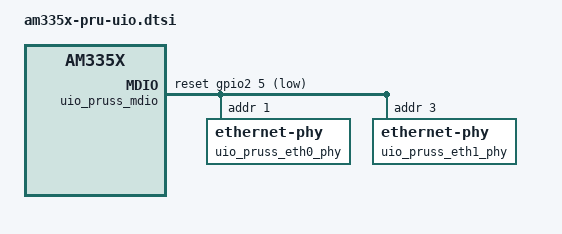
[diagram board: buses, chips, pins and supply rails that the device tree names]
&pruss_soc_bus {
		uio_pruss_mdio: uio_pruss_mdio@4a332400 {
			compatible = "ti,davinci_mdio";
			reg = <0x4a332400 0x90>;
			clocks = <&dpll_core_m4_ck>;
			clock-names = "fck";
			bus_freq = <1000000>;
			#address-cells = <1>;
			#size-cells = <0>;
			status = "disabled";
		};

		uio_pruss_mem: uio_pruss_mem {
			compatible = "ti,uio-module-drv";
			mem = <0x4a300000 0x2000>,
			      <0x4a302000 0x2000>,
			      <0x4a310000 0x3000>,
			      <0x4a320000 0x2000>,
			      <0x4a326000 0x2000>,
			      <0x4a32e000 0x31c>,
			      <0x4a332000 0x58>;
			mem-names = "dram0", "dram1", "shrdram2", "intc", "cfg",
				    "iep", "mii_rt";

			status = "okay";
		};
		uio_pruss_mem2: uio_pruss_mem2 {
			compatible = "ti,uio-module-drv";
			mem = <0x4a328000 0xd4>,
			      <0x4a330000 0x174>,
			      <0x4a332400 0x90>,
			      <0x40302000 0x0e000>;
			mem-names = "uart", "ecap", "mdio", "ocmc";
			status = "okay";
		};

		uio_pruss_evt0: uio_pruss_evt0 {
			compatible = "ti,uio-module-drv";
                        interrupts = <20>;
			interrupt-mode = <1>;
			status = "okay";
		};
		uio_pruss_evt1: uio_pruss_evt1 {
			compatible = "ti,uio-module-drv";
                        interrupts = <21>;
			interrupt-mode = <1>;
			status = "okay";
		};
		uio_pruss_evt2: uio_pruss_evt2 {
			compatible = "ti,uio-module-drv";
                        interrupts = <22>;
			interrupt-mode = <1>;
			status = "okay";
		};
		uio_pruss_evt3: uio_pruss_evt3 {
			compatible = "ti,uio-module-drv";
                        interrupts = <23>;
			interrupt-mode = <1>;
			status = "okay";
		};
		uio_pruss_evt4: uio_pruss_evt4 {
			compatible = "ti,uio-module-drv";
                        interrupts = <24>;
			interrupt-mode = <1>;
			status = "okay";
		};
		uio_pruss_evt5: uio_pruss_evt5 {
			compatible = "ti,uio-module-drv";
                        interrupts = <25>;
			interrupt-mode = <1>;
			status = "okay";
		};
		uio_pruss_evt6: uio_pruss_evt6 {
			compatible = "ti,uio-module-drv";
                        interrupts = <26>;
			interrupt-mode = <1>;
			status = "okay";
		};
		uio_pruss_evt7: uio_pruss_evt7 {
			compatible = "ti,uio-module-drv";
                        interrupts = <27>;
			interrupt-mode = <1>;
			status = "okay";
		};

		uio_pruss_0_mem: uio_pruss_0_mem {
			compatible = "ti,uio-module-drv";
			mem = <0x4a334000 0x2000>,
			      <0x4a322000 0x400>,
			      <0x4a322400 0x100>;
			mem-names = "iram", "control", "debug";
			status = "okay";
		};

		uio_pruss_1_mem: uio_pruss_1_mem {
			compatible = "ti,uio-module-drv";
			mem = <0x4a338000 0x2000>,
			      <0x4a324000 0x400>,
			      <0x4a324400 0x100>;
			mem-names = "iram", "control", "debug";
			status = "okay";
		};
};

&am33xx_pinmux {
	uio_pruss_mdio_eth_default: uio_pruss_mdio_eth_default {
		pinctrl-single,pins = <
			AM33XX_IOPAD(0x88c, (PIN_OUTPUT | MUX_MODE5))           /* gpmc_clk.pr1_mdio_mdclk */
			AM33XX_IOPAD(0x888, (PIN_INPUT  | MUX_MODE5))           /* gpmc_csn3.pr1_mdio_data */
			AM33XX_IOPAD(0x89c, (PIN_INPUT_PULLUP | MUX_MODE7))     /* gpmc_ben0_cle.gpio2_5 */
			/* disable CPSW MDIO */
			AM33XX_IOPAD(0x948, (PIN_INPUT_PULLUP | MUX_MODE7))     /* mdio_data.gpio0_0 */
			AM33XX_IOPAD(0x94c, (PIN_INPUT_PULLUP | MUX_MODE7))     /* mdio_clk.gpio0_1 */
			AM33XX_IOPAD(0x8a0, (PIN_INPUT  | MUX_MODE2))   /* dss_data0.pr1_mii_mt0_clk */
			AM33XX_IOPAD(0x8b4, (PIN_OUTPUT | MUX_MODE2))   /* dss_data5.pr1_mii0_txd0 */
			AM33XX_IOPAD(0x8b0, (PIN_OUTPUT | MUX_MODE2))   /* dss_data4.pr1_mii0_txd1 */
			AM33XX_IOPAD(0x8ac, (PIN_OUTPUT | MUX_MODE2))   /* dss_data3.pr1_mii0_txd2 */
			AM33XX_IOPAD(0x8a8, (PIN_OUTPUT | MUX_MODE2))   /* dss_data2.pr1_mii0_txd3 */
			AM33XX_IOPAD(0x8cc, (PIN_INPUT  | MUX_MODE5))   /* dss_data11.pr1_mii0_rxd0 */
			AM33XX_IOPAD(0x8c8, (PIN_INPUT  | MUX_MODE5))   /* dss_data10.pr1_mii0_rxd1 */
			AM33XX_IOPAD(0x8c4, (PIN_INPUT  | MUX_MODE5))   /* dss_data9.pr1_mii0_rxd2 */
			AM33XX_IOPAD(0x8c0, (PIN_INPUT  | MUX_MODE5))   /* dss_data8.pr1_mii0_rxd3 */
			AM33XX_IOPAD(0x8a4, (PIN_OUTPUT | MUX_MODE2))   /* dss_data1.pr1_mii0_txen */
			AM33XX_IOPAD(0x8d8, (PIN_INPUT  | MUX_MODE5))   /* dss_data14.pr1_mii_mr0_clk */
			AM33XX_IOPAD(0x8dc, (PIN_INPUT  | MUX_MODE5))   /* dss_data15.pr1_mii0_rxdv */
			AM33XX_IOPAD(0x8d4, (PIN_INPUT  | MUX_MODE5))   /* dss_data13.pr1_mii0_rxer */
			AM33XX_IOPAD(0x8d0, (PIN_INPUT  | MUX_MODE5))   /* dss_data12.pr1_mii0_rxlink */
			AM33XX_IOPAD(0x8e8, (PIN_INPUT  | MUX_MODE2))   /* dss_pclk.pr1_mii0_crs */

			AM33XX_IOPAD(0x840, (PIN_INPUT  | MUX_MODE5))   /* gpmc_a0.pr1_mii_mt1_clk */
			AM33XX_IOPAD(0x850, (PIN_OUTPUT | MUX_MODE5))   /* gpmc_a4.pr1_mii1_txd0 */
			AM33XX_IOPAD(0x84c, (PIN_OUTPUT | MUX_MODE5))   /* gpmc_a3.pr1_mii1_txd1 */
			AM33XX_IOPAD(0x848, (PIN_OUTPUT | MUX_MODE5))   /* gpmc_a2.pr1_mii1_txd2 */
			AM33XX_IOPAD(0x844, (PIN_OUTPUT | MUX_MODE5))   /* gpmc_a1.pr1_mii1_txd3 */
			AM33XX_IOPAD(0x860, (PIN_INPUT  | MUX_MODE5))   /* gpmc_a8.pr1_mii1_rxd0 */
			AM33XX_IOPAD(0x85c, (PIN_INPUT  | MUX_MODE5))   /* gpmc_a7.pr1_mii1_rxd1 */
			AM33XX_IOPAD(0x858, (PIN_INPUT  | MUX_MODE5))   /* gpmc_a6.pr1_mii1_rxd2 */
			AM33XX_IOPAD(0x854, (PIN_INPUT  | MUX_MODE5))   /* gpmc_a5.pr1_mii1_rxd3 */
			AM33XX_IOPAD(0x874, (PIN_OUTPUT | MUX_MODE5))   /* gpmc_wpn.pr1_mii1_txen */
			AM33XX_IOPAD(0x864, (PIN_INPUT  | MUX_MODE5))   /* gpmc_a9.pr1_mii_mr1_clk */
			AM33XX_IOPAD(0x868, (PIN_INPUT  | MUX_MODE5))   /* gpmc_a10.pr1_mii1_rxdv */
			AM33XX_IOPAD(0x86c, (PIN_INPUT  | MUX_MODE5))   /* gpmc_a11.pr1_mii1_rxer */
			AM33XX_IOPAD(0x878, (PIN_INPUT  | MUX_MODE5))   /* gpmc_ben1.pr1_mii1_rxlink */
			AM33XX_IOPAD(0x8ec, (PIN_INPUT  | MUX_MODE2))   /* lcd_ac_bias_en.pr1_mii1_crs */
			AM33XX_IOPAD(0x870, (PIN_INPUT  | MUX_MODE5))   /* gpmc_wait0.pr1_mii1_col */
		>;
	};
};

&uio_pruss_mdio {
	pinctrl-0 = <&uio_pruss_mdio_eth_default>;
	pinctrl-names = "default";
	reset-gpios = <&gpio2 5 GPIO_ACTIVE_LOW>;
	reset-delay-us = <2>; /* PHY datasheet states 1uS min */
	status = "okay";

	uio_pruss_eth0_phy: ethernet-phy@1 {
		reg = <1>;
	};

	uio_pruss_eth1_phy: ethernet-phy@3 {
		reg = <3>;
	};
};

&pruss {
	status = "disabled";
};

&pru0 {
	status = "disabled";
};

&pru1 {
	status = "disabled";
};

&pruss_intc {
	status = "disabled";
};

&pruss_mdio {
	status = "disabled";
};

&pruss_emac0 {
        status = "disabled";
};

&pruss_emac1 {
        status = "disabled";
};
